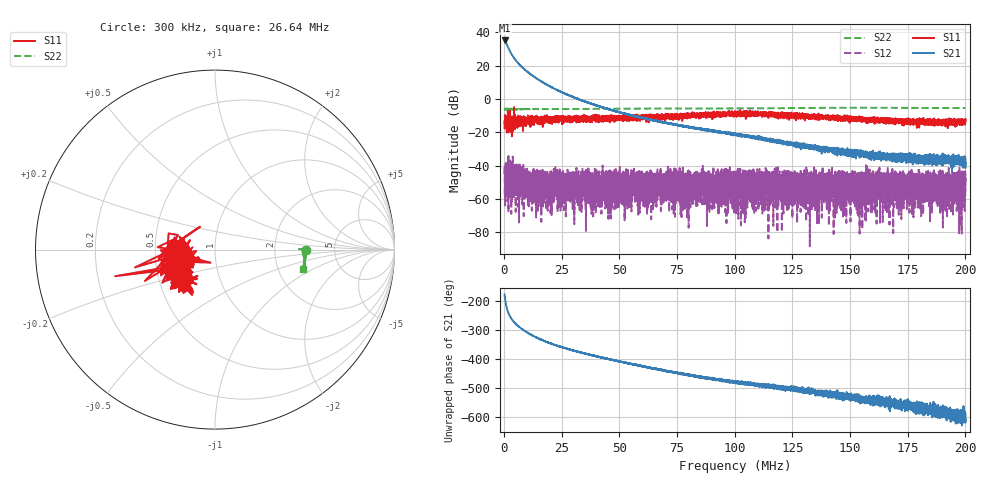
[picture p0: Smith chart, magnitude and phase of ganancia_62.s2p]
# Hz S DB R 50
! CMT, M5065, 19127446, 24.2.4/2
! Date: 11/8/2024 3:26:37 PM
! Data: Format (Calibration Info)
! Freq	S11:dB/Ang(F2)	S21:dB/Ang(F2)	S12:dB/Ang(F2)	S22:dB/Ang(F2)
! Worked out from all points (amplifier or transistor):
!   9000 points, 300 kHz to 200 MHz, reference 50 ohm
!   highest |S21| = 35.2 dB at 322.2 kHz (marker M1)
!   |S21| within 3 dB of that: start of sweep to 1.433 MHz
!   unconditionally stable (mu >= 1): 479.7 kHz to 695.7 kHz; 1.145 MHz to 1.782 MHz; 1.946 MHz to end of sweep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
!   at 33.59 MHz: K = 192.05, MAG = 0.9 dB, |S12| = -54.2 dB
!   at 100.2 MHz: K = 611.71, MAG = -19.3 dB, |S12| = -44.5 dB
!   at 200 MHz: K = 12940.80, MAG = -36.7 dB, |S12| = -53.2 dB
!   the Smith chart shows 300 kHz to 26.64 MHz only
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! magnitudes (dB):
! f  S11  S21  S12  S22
! 300 kHz  -13.3  35.2  -45.5  -5.9
! 322.2 kHz  -16.5  35.2  -45.4  -5.9
! 5.093 MHz  -13.4  23.4  -39.8  -6.0
! 11.11 MHz  -12.7  15.4  -50.5  -6.0
! 33.59 MHz  -11.8  -0.7  -54.2  -5.9
! 51.16 MHz  -11.0  -8.2  -54.5  -5.8
! 54.42 MHz  -11.2  -9.4  -64.8  -5.7
! 55.8 MHz  -10.2  -9.9  -48.1  -5.7
! 61.88 MHz  -10.0  -11.7  -52.4  -5.7
! 66.87 MHz  -10.5  -13.5  -52.9  -5.7
! 75.26 MHz  -10.3  -15.6  -44.4  -5.6
! 76.53 MHz  -11.1  -15.9  -48.8  -5.6
! 82.23 MHz  -9.6  -17.0  -49.2  -5.6
! 100.2 MHz  -9.1  -21.3  -44.5  -5.5
! 133.4 MHz  -9.6  -28.7  -45.8  -5.3
! 166.7 MHz  -13.2  -35.1  -59.2  -5.2
! 184.8 MHz  -12.7  -35.3  -57.5  -5.3
! 187.9 MHz  -12.6  -35.9  -50.9  -5.3
! 190 MHz  -12.9  -36.6  -52.3  -5.3
! 192.8 MHz  -13.1  -34.2  -48.2  -5.3
! 198 MHz  -12.6  -34.9  -52.8  -5.3
! 200 MHz  -14.0  -38.4  -53.2  -5.4
